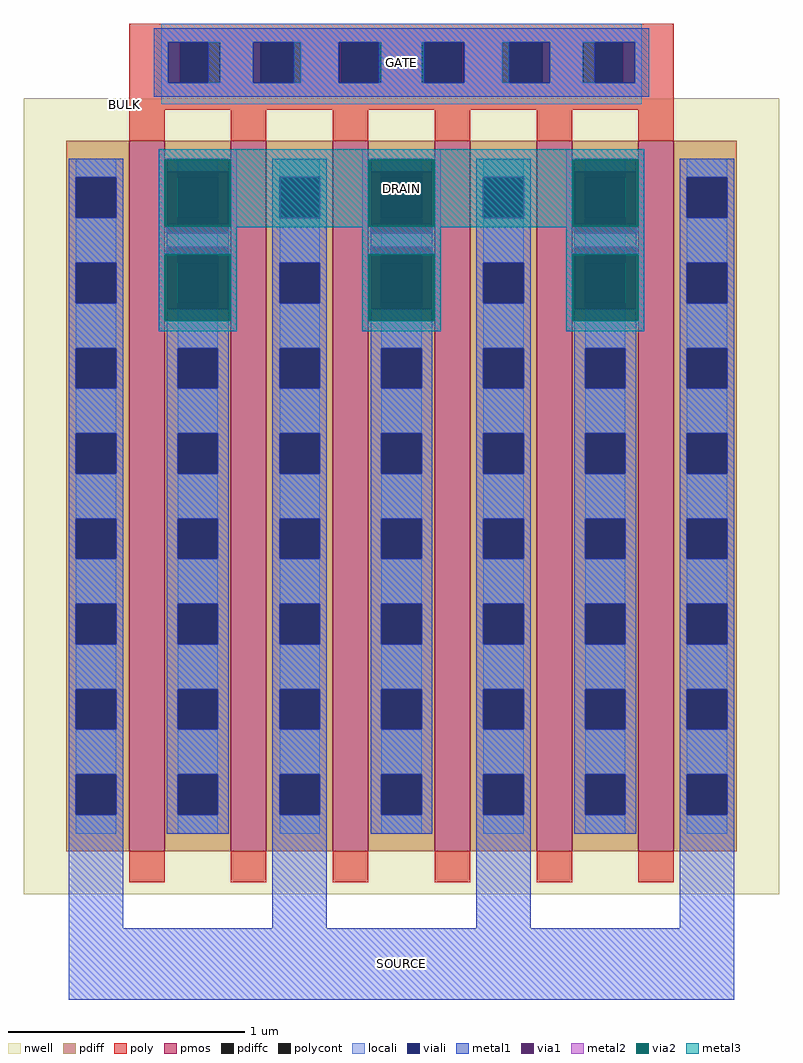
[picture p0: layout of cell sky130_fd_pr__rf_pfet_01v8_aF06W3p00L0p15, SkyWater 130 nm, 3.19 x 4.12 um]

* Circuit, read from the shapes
.subckt sky130_fd_pr__rf_pfet_01v8_aF06W3p00L0p15 DRAIN GATE SOURCE BULK
XM1 DRAIN GATE SOURCE BULK sky130_fd_pr__pfet_01v8 w=3 l=0.15 m=6
.ends

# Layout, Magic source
magic
tech sky130A
magscale 1 2
<< nwell >>
rect 0 0 638 672
<< pmos >>
rect 89 36 119 636
rect 175 36 205 636
rect 261 36 291 636
rect 347 36 377 636
rect 433 36 463 636
rect 519 36 549 636
<< pdiff >>
rect 36 605 89 636
rect 36 571 44 605
rect 78 571 89 605
rect 36 533 89 571
rect 36 499 44 533
rect 78 499 89 533
rect 36 461 89 499
rect 36 427 44 461
rect 78 427 89 461
rect 36 389 89 427
rect 36 355 44 389
rect 78 355 89 389
rect 36 317 89 355
rect 36 283 44 317
rect 78 283 89 317
rect 36 245 89 283
rect 36 211 44 245
rect 78 211 89 245
rect 36 173 89 211
rect 36 139 44 173
rect 78 139 89 173
rect 36 101 89 139
rect 36 67 44 101
rect 78 67 89 101
rect 36 36 89 67
rect 119 605 175 636
rect 119 571 130 605
rect 164 571 175 605
rect 119 533 175 571
rect 119 499 130 533
rect 164 499 175 533
rect 119 461 175 499
rect 119 427 130 461
rect 164 427 175 461
rect 119 389 175 427
rect 119 355 130 389
rect 164 355 175 389
rect 119 317 175 355
rect 119 283 130 317
rect 164 283 175 317
rect 119 245 175 283
rect 119 211 130 245
rect 164 211 175 245
rect 119 173 175 211
rect 119 139 130 173
rect 164 139 175 173
rect 119 101 175 139
rect 119 67 130 101
rect 164 67 175 101
rect 119 36 175 67
rect 205 605 261 636
rect 205 571 216 605
rect 250 571 261 605
rect 205 533 261 571
rect 205 499 216 533
rect 250 499 261 533
rect 205 461 261 499
rect 205 427 216 461
rect 250 427 261 461
rect 205 389 261 427
rect 205 355 216 389
rect 250 355 261 389
rect 205 317 261 355
rect 205 283 216 317
rect 250 283 261 317
rect 205 245 261 283
rect 205 211 216 245
rect 250 211 261 245
rect 205 173 261 211
rect 205 139 216 173
rect 250 139 261 173
rect 205 101 261 139
rect 205 67 216 101
rect 250 67 261 101
rect 205 36 261 67
rect 291 605 347 636
rect 291 571 302 605
rect 336 571 347 605
rect 291 533 347 571
rect 291 499 302 533
rect 336 499 347 533
rect 291 461 347 499
rect 291 427 302 461
rect 336 427 347 461
rect 291 389 347 427
rect 291 355 302 389
rect 336 355 347 389
rect 291 317 347 355
rect 291 283 302 317
rect 336 283 347 317
rect 291 245 347 283
rect 291 211 302 245
rect 336 211 347 245
rect 291 173 347 211
rect 291 139 302 173
rect 336 139 347 173
rect 291 101 347 139
rect 291 67 302 101
rect 336 67 347 101
rect 291 36 347 67
rect 377 605 433 636
rect 377 571 388 605
rect 422 571 433 605
rect 377 533 433 571
rect 377 499 388 533
rect 422 499 433 533
rect 377 461 433 499
rect 377 427 388 461
rect 422 427 433 461
rect 377 389 433 427
rect 377 355 388 389
rect 422 355 433 389
rect 377 317 433 355
rect 377 283 388 317
rect 422 283 433 317
rect 377 245 433 283
rect 377 211 388 245
rect 422 211 433 245
rect 377 173 433 211
rect 377 139 388 173
rect 422 139 433 173
rect 377 101 433 139
rect 377 67 388 101
rect 422 67 433 101
rect 377 36 433 67
rect 463 605 519 636
rect 463 571 474 605
rect 508 571 519 605
rect 463 533 519 571
rect 463 499 474 533
rect 508 499 519 533
rect 463 461 519 499
rect 463 427 474 461
rect 508 427 519 461
rect 463 389 519 427
rect 463 355 474 389
rect 508 355 519 389
rect 463 317 519 355
rect 463 283 474 317
rect 508 283 519 317
rect 463 245 519 283
rect 463 211 474 245
rect 508 211 519 245
rect 463 173 519 211
rect 463 139 474 173
rect 508 139 519 173
rect 463 101 519 139
rect 463 67 474 101
rect 508 67 519 101
rect 463 36 519 67
rect 549 605 602 636
rect 549 571 560 605
rect 594 571 602 605
rect 549 533 602 571
rect 549 499 560 533
rect 594 499 602 533
rect 549 461 602 499
rect 549 427 560 461
rect 594 427 602 461
rect 549 389 602 427
rect 549 355 560 389
rect 594 355 602 389
rect 549 317 602 355
rect 549 283 560 317
rect 594 283 602 317
rect 549 245 602 283
rect 549 211 560 245
rect 594 211 602 245
rect 549 173 602 211
rect 549 139 560 173
rect 594 139 602 173
rect 549 101 602 139
rect 549 67 560 101
rect 594 67 602 101
rect 549 36 602 67
<< pdiffc >>
rect 44 571 78 605
rect 44 499 78 533
rect 44 427 78 461
rect 44 355 78 389
rect 44 283 78 317
rect 44 211 78 245
rect 44 139 78 173
rect 44 67 78 101
rect 130 571 164 605
rect 130 499 164 533
rect 130 427 164 461
rect 130 355 164 389
rect 130 283 164 317
rect 130 211 164 245
rect 130 139 164 173
rect 130 67 164 101
rect 216 571 250 605
rect 216 499 250 533
rect 216 427 250 461
rect 216 355 250 389
rect 216 283 250 317
rect 216 211 250 245
rect 216 139 250 173
rect 216 67 250 101
rect 302 571 336 605
rect 302 499 336 533
rect 302 427 336 461
rect 302 355 336 389
rect 302 283 336 317
rect 302 211 336 245
rect 302 139 336 173
rect 302 67 336 101
rect 388 571 422 605
rect 388 499 422 533
rect 388 427 422 461
rect 388 355 422 389
rect 388 283 422 317
rect 388 211 422 245
rect 388 139 422 173
rect 388 67 422 101
rect 474 571 508 605
rect 474 499 508 533
rect 474 427 508 461
rect 474 355 508 389
rect 474 283 508 317
rect 474 211 508 245
rect 474 139 508 173
rect 474 67 508 101
rect 560 571 594 605
rect 560 499 594 533
rect 560 427 594 461
rect 560 355 594 389
rect 560 283 594 317
rect 560 211 594 245
rect 560 139 594 173
rect 560 67 594 101
<< poly >>
rect 89 719 549 735
rect 89 685 132 719
rect 166 685 200 719
rect 234 685 268 719
rect 302 685 336 719
rect 370 685 404 719
rect 438 685 472 719
rect 506 685 549 719
rect 89 662 549 685
rect 89 636 119 662
rect 175 636 205 662
rect 261 636 291 662
rect 347 636 377 662
rect 433 636 463 662
rect 519 636 549 662
rect 89 10 119 36
rect 175 10 205 36
rect 261 10 291 36
rect 347 10 377 36
rect 433 10 463 36
rect 519 10 549 36
<< polycont >>
rect 132 685 166 719
rect 200 685 234 719
rect 268 685 302 719
rect 336 685 370 719
rect 404 685 438 719
rect 472 685 506 719
<< locali >>
rect 116 719 522 735
rect 116 685 122 719
rect 166 685 194 719
rect 234 685 266 719
rect 302 685 336 719
rect 372 685 404 719
rect 444 685 472 719
rect 516 685 522 719
rect 116 667 522 685
rect 44 605 78 621
rect 44 533 78 571
rect 44 461 78 499
rect 44 389 78 427
rect 44 317 78 355
rect 44 245 78 283
rect 44 173 78 211
rect 44 101 78 139
rect 44 51 78 67
rect 130 605 164 621
rect 130 533 164 571
rect 130 461 164 499
rect 130 389 164 427
rect 130 317 164 355
rect 130 245 164 283
rect 130 173 164 211
rect 130 101 164 139
rect 130 51 164 67
rect 216 605 250 621
rect 216 533 250 571
rect 216 461 250 499
rect 216 389 250 427
rect 216 317 250 355
rect 216 245 250 283
rect 216 173 250 211
rect 216 101 250 139
rect 216 51 250 67
rect 302 605 336 621
rect 302 533 336 571
rect 302 461 336 499
rect 302 389 336 427
rect 302 317 336 355
rect 302 245 336 283
rect 302 173 336 211
rect 302 101 336 139
rect 302 51 336 67
rect 388 605 422 621
rect 388 533 422 571
rect 388 461 422 499
rect 388 389 422 427
rect 388 317 422 355
rect 388 245 422 283
rect 388 173 422 211
rect 388 101 422 139
rect 388 51 422 67
rect 474 605 508 621
rect 474 533 508 571
rect 474 461 508 499
rect 474 389 508 427
rect 474 317 508 355
rect 474 245 508 283
rect 474 173 508 211
rect 474 101 508 139
rect 474 51 508 67
rect 560 605 594 621
rect 560 533 594 571
rect 560 461 594 499
rect 560 389 594 427
rect 560 317 594 355
rect 560 245 594 283
rect 560 173 594 211
rect 560 101 594 139
rect 560 51 594 67
<< viali >>
rect 122 685 132 719
rect 132 685 156 719
rect 194 685 200 719
rect 200 685 228 719
rect 266 685 268 719
rect 268 685 300 719
rect 338 685 370 719
rect 370 685 372 719
rect 410 685 438 719
rect 438 685 444 719
rect 482 685 506 719
rect 506 685 516 719
rect 44 571 78 605
rect 44 499 78 533
rect 44 427 78 461
rect 44 355 78 389
rect 44 283 78 317
rect 44 211 78 245
rect 44 139 78 173
rect 44 67 78 101
rect 130 571 164 605
rect 130 499 164 533
rect 130 427 164 461
rect 130 355 164 389
rect 130 283 164 317
rect 130 211 164 245
rect 130 139 164 173
rect 130 67 164 101
rect 216 571 250 605
rect 216 499 250 533
rect 216 427 250 461
rect 216 355 250 389
rect 216 283 250 317
rect 216 211 250 245
rect 216 139 250 173
rect 216 67 250 101
rect 302 571 336 605
rect 302 499 336 533
rect 302 427 336 461
rect 302 355 336 389
rect 302 283 336 317
rect 302 211 336 245
rect 302 139 336 173
rect 302 67 336 101
rect 388 571 422 605
rect 388 499 422 533
rect 388 427 422 461
rect 388 355 422 389
rect 388 283 422 317
rect 388 211 422 245
rect 388 139 422 173
rect 388 67 422 101
rect 474 571 508 605
rect 474 499 508 533
rect 474 427 508 461
rect 474 355 508 389
rect 474 283 508 317
rect 474 211 508 245
rect 474 139 508 173
rect 474 67 508 101
rect 560 571 594 605
rect 560 499 594 533
rect 560 427 594 461
rect 560 355 594 389
rect 560 283 594 317
rect 560 211 594 245
rect 560 139 594 173
rect 560 67 594 101
<< metal1 >>
rect 110 719 528 731
rect 110 685 122 719
rect 156 685 194 719
rect 228 685 266 719
rect 300 685 338 719
rect 372 685 410 719
rect 444 685 482 719
rect 516 685 528 719
rect 110 673 528 685
rect 38 605 84 621
rect 38 571 44 605
rect 78 571 84 605
rect 38 533 84 571
rect 38 499 44 533
rect 78 499 84 533
rect 38 461 84 499
rect 38 427 44 461
rect 78 427 84 461
rect 38 389 84 427
rect 38 355 44 389
rect 78 355 84 389
rect 38 317 84 355
rect 38 283 44 317
rect 78 283 84 317
rect 38 245 84 283
rect 38 211 44 245
rect 78 211 84 245
rect 38 173 84 211
rect 38 139 44 173
rect 78 139 84 173
rect 38 101 84 139
rect 38 67 44 101
rect 78 67 84 101
rect 38 -29 84 67
rect 121 610 173 621
rect 121 546 173 558
rect 121 461 173 494
rect 121 427 130 461
rect 164 427 173 461
rect 121 389 173 427
rect 121 355 130 389
rect 164 355 173 389
rect 121 317 173 355
rect 121 283 130 317
rect 164 283 173 317
rect 121 245 173 283
rect 121 211 130 245
rect 164 211 173 245
rect 121 173 173 211
rect 121 139 130 173
rect 164 139 173 173
rect 121 101 173 139
rect 121 67 130 101
rect 164 67 173 101
rect 121 51 173 67
rect 210 605 256 621
rect 210 571 216 605
rect 250 571 256 605
rect 210 533 256 571
rect 210 499 216 533
rect 250 499 256 533
rect 210 461 256 499
rect 210 427 216 461
rect 250 427 256 461
rect 210 389 256 427
rect 210 355 216 389
rect 250 355 256 389
rect 210 317 256 355
rect 210 283 216 317
rect 250 283 256 317
rect 210 245 256 283
rect 210 211 216 245
rect 250 211 256 245
rect 210 173 256 211
rect 210 139 216 173
rect 250 139 256 173
rect 210 101 256 139
rect 210 67 216 101
rect 250 67 256 101
rect 210 -29 256 67
rect 293 610 345 621
rect 293 546 345 558
rect 293 461 345 494
rect 293 427 302 461
rect 336 427 345 461
rect 293 389 345 427
rect 293 355 302 389
rect 336 355 345 389
rect 293 317 345 355
rect 293 283 302 317
rect 336 283 345 317
rect 293 245 345 283
rect 293 211 302 245
rect 336 211 345 245
rect 293 173 345 211
rect 293 139 302 173
rect 336 139 345 173
rect 293 101 345 139
rect 293 67 302 101
rect 336 67 345 101
rect 293 51 345 67
rect 382 605 428 621
rect 382 571 388 605
rect 422 571 428 605
rect 382 533 428 571
rect 382 499 388 533
rect 422 499 428 533
rect 382 461 428 499
rect 382 427 388 461
rect 422 427 428 461
rect 382 389 428 427
rect 382 355 388 389
rect 422 355 428 389
rect 382 317 428 355
rect 382 283 388 317
rect 422 283 428 317
rect 382 245 428 283
rect 382 211 388 245
rect 422 211 428 245
rect 382 173 428 211
rect 382 139 388 173
rect 422 139 428 173
rect 382 101 428 139
rect 382 67 388 101
rect 422 67 428 101
rect 382 -29 428 67
rect 465 610 517 621
rect 465 546 517 558
rect 465 461 517 494
rect 465 427 474 461
rect 508 427 517 461
rect 465 389 517 427
rect 465 355 474 389
rect 508 355 517 389
rect 465 317 517 355
rect 465 283 474 317
rect 508 283 517 317
rect 465 245 517 283
rect 465 211 474 245
rect 508 211 517 245
rect 465 173 517 211
rect 465 139 474 173
rect 508 139 517 173
rect 465 101 517 139
rect 465 67 474 101
rect 508 67 517 101
rect 465 51 517 67
rect 554 605 600 621
rect 554 571 560 605
rect 594 571 600 605
rect 554 533 600 571
rect 554 499 560 533
rect 594 499 600 533
rect 554 461 600 499
rect 554 427 560 461
rect 594 427 600 461
rect 554 389 600 427
rect 554 355 560 389
rect 594 355 600 389
rect 554 317 600 355
rect 554 283 560 317
rect 594 283 600 317
rect 554 245 600 283
rect 554 211 560 245
rect 594 211 600 245
rect 554 173 600 211
rect 554 139 560 173
rect 594 139 600 173
rect 554 101 600 139
rect 554 67 560 101
rect 594 67 600 101
rect 554 -29 600 67
rect 38 -89 600 -29
<< via1 >>
rect 121 605 173 610
rect 121 571 130 605
rect 130 571 164 605
rect 164 571 173 605
rect 121 558 173 571
rect 121 533 173 546
rect 121 499 130 533
rect 130 499 164 533
rect 164 499 173 533
rect 121 494 173 499
rect 293 605 345 610
rect 293 571 302 605
rect 302 571 336 605
rect 336 571 345 605
rect 293 558 345 571
rect 293 533 345 546
rect 293 499 302 533
rect 302 499 336 533
rect 336 499 345 533
rect 293 494 345 499
rect 465 605 517 610
rect 465 571 474 605
rect 474 571 508 605
rect 508 571 517 605
rect 465 558 517 571
rect 465 533 517 546
rect 465 499 474 533
rect 474 499 508 533
rect 508 499 517 533
rect 465 494 517 499
<< metal2 >>
rect 114 620 180 629
rect 114 564 119 620
rect 175 564 180 620
rect 114 558 121 564
rect 173 558 180 564
rect 114 546 180 558
rect 114 540 121 546
rect 173 540 180 546
rect 114 484 119 540
rect 175 484 180 540
rect 114 475 180 484
rect 286 620 352 629
rect 286 564 291 620
rect 347 564 352 620
rect 286 558 293 564
rect 345 558 352 564
rect 286 546 352 558
rect 286 540 293 546
rect 345 540 352 546
rect 286 484 291 540
rect 347 484 352 540
rect 286 475 352 484
rect 458 620 524 629
rect 458 564 463 620
rect 519 564 524 620
rect 458 558 465 564
rect 517 558 524 564
rect 458 546 524 558
rect 458 540 465 546
rect 517 540 524 546
rect 458 484 463 540
rect 519 484 524 540
rect 458 475 524 484
<< via2 >>
rect 119 610 175 620
rect 119 564 121 610
rect 121 564 173 610
rect 173 564 175 610
rect 119 494 121 540
rect 121 494 173 540
rect 173 494 175 540
rect 119 484 175 494
rect 291 610 347 620
rect 291 564 293 610
rect 293 564 345 610
rect 345 564 347 610
rect 291 494 293 540
rect 293 494 345 540
rect 345 494 347 540
rect 291 484 347 494
rect 463 610 519 620
rect 463 564 465 610
rect 465 564 517 610
rect 517 564 519 610
rect 463 494 465 540
rect 465 494 517 540
rect 517 494 519 540
rect 463 484 519 494
<< metal3 >>
rect 114 620 524 629
rect 114 564 119 620
rect 175 564 291 620
rect 347 564 463 620
rect 519 564 524 620
rect 114 563 524 564
rect 114 540 180 563
rect 114 484 119 540
rect 175 484 180 540
rect 114 475 180 484
rect 286 540 352 563
rect 286 484 291 540
rect 347 484 352 540
rect 286 475 352 484
rect 458 540 524 563
rect 458 484 463 540
rect 519 484 524 540
rect 458 475 524 484
<< labels >>
flabel metal3 s 114 563 524 629 0 FreeSans 400 0 0 0 DRAIN
port 1 nsew
flabel metal1 s 110 673 528 731 0 FreeSans 400 0 0 0 GATE
port 2 nsew
flabel metal1 s 38 -89 600 -29 0 FreeSans 400 0 0 0 SOURCE
port 3 nsew
flabel nwell s 83 663 87 671 0 FreeSans 400 0 0 0 BULK
port 4 nsew
<< properties >>
string GDS_FILE $PDKPATH/libs.ref/sky130_fd_pr/gds/sky130_fd_pr.gds
string GDS_END 9278526
string GDS_START 9263878
string path 0.950 -1.475 15.000 -1.475 
<< end >>
